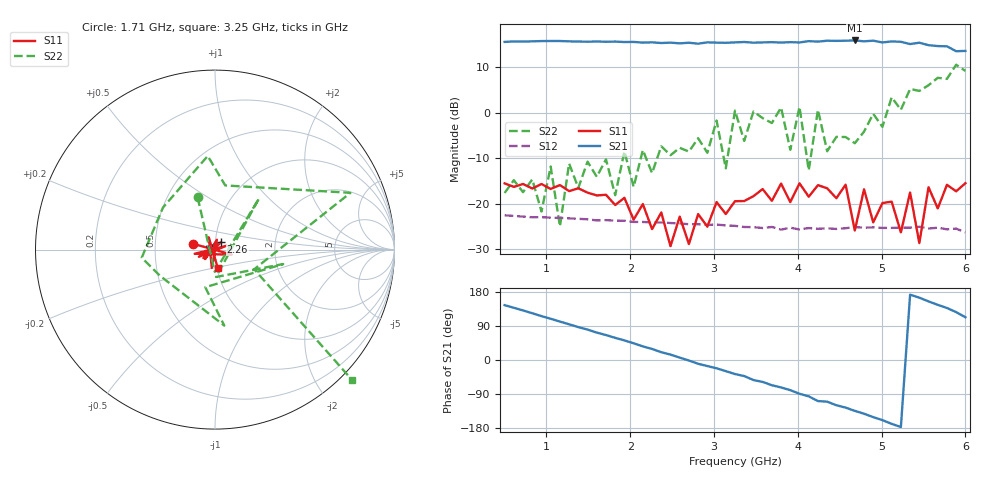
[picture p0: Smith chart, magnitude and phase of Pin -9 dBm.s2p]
! RsaToolbox (C) 2015 Rohde & Schwarz America
! Number of points: 51
! Number of ports: 2
! Balanced ports?: No
# Hz S RI R 50
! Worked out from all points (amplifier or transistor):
!   51 points, 500 MHz to 6 GHz, reference 50 ohm
!   highest |S21| = 15.9 dB at 4.68 GHz (marker M1)
!   |S21| within 3 dB of that: start of sweep to end of sweep
!   unconditionally stable (mu >= 1): start of sweep to 3.003 GHz; 3.047 GHz to 3.218 GHz; 4.29 GHz to 4.798 GHz (the widest 3 of 6)
!   at 1.38 GHz: K = 1.35, MAG = 15.9 dB, |S12| = -23.4 dB
!   at 3.25 GHz: K = 0.07, MSG = 20.2 dB, |S12| = -24.9 dB
!   at 6 GHz: K = -15.04, MSG = 20.0 dB, |S12| = -26.3 dB
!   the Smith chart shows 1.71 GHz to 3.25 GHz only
!   S11 on the Smith chart (normalised r, x): 1.71 GHz: 0.78, +0.05; 2.26 GHz: 1.07, +0.09; 3.25 GHz: 1.01, -0.21
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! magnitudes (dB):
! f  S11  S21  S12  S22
! 500 MHz  -15.6  15.6  -22.6  -17.7
! 940 MHz  -15.7  15.7  -23.0  -21.7
! 1.05 GHz  -16.8  15.8  -23.1  -11.9
! 1.16 GHz  -15.9  15.8  -23.1  -25.0
! 1.27 GHz  -17.3  15.7  -23.2  -11.2
! 1.49 GHz  -17.6  15.6  -23.4  -10.8
! 1.71 GHz  -18.1  15.6  -23.6  -10.3
! 2.26 GHz  -25.6  15.5  -24.1  -13.3
! 2.37 GHz  -22.0  15.3  -24.2  -7.4
! 2.7 GHz  -28.9  15.4  -24.5  -8.6
! 3.03 GHz  -19.7  15.4  -24.6  -1.7
! 3.14 GHz  -22.3  15.4  -24.8  -12.2
! 3.25 GHz  -19.5  15.5  -24.9  0.4
! 3.91 GHz  -19.7  15.5  -25.3  -8.2
! 4.02 GHz  -15.5  15.4  -25.7  1.3
! 4.13 GHz  -18.5  15.7  -25.4  -12.7
! 4.24 GHz  -15.9  15.6  -25.5  0.6
! 4.68 GHz  -25.9  15.9  -25.2  -6.7
! 5.12 GHz  -19.6  15.7  -25.3  3.4
! 5.45 GHz  -28.7  15.4  -25.1  4.8
! 5.56 GHz  -16.4  14.8  -25.5  6.0
! 6 GHz  -15.5  13.6  -26.3  9.2
